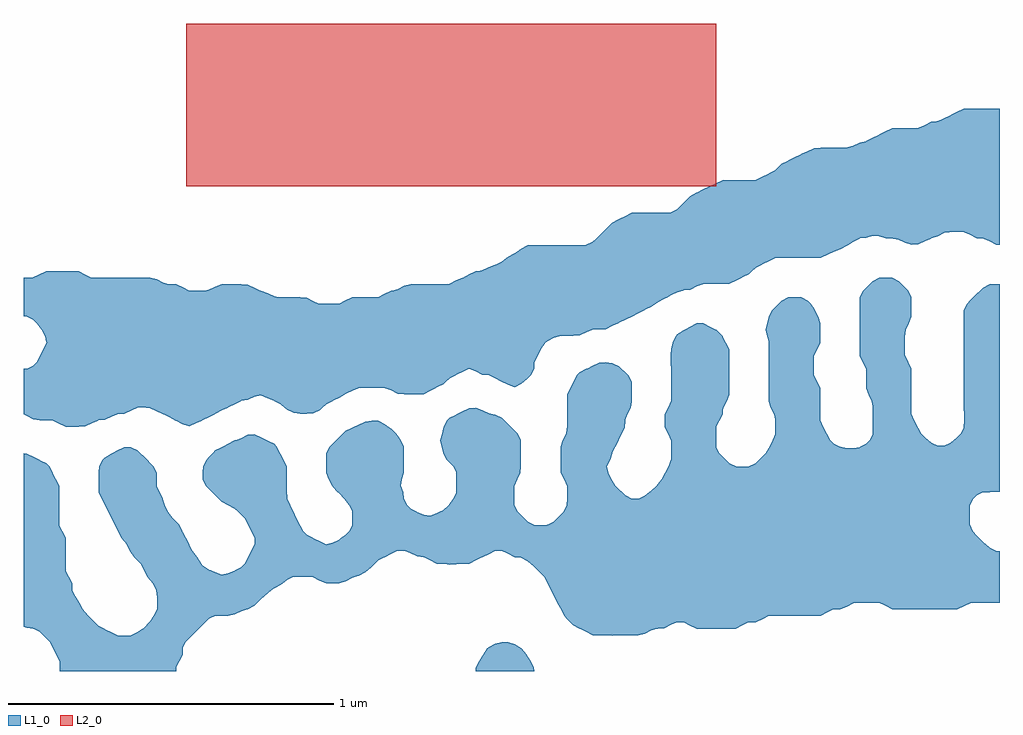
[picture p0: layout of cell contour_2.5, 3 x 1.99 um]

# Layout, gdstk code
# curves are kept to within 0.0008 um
import gdstk
lib = gdstk.Library(unit=1e-6, precision=1e-10)
def P(c, l, *ps):  # polygons
    for p in ps: c.add(gdstk.Polygon(p, *l))
L1_0 = (1, 0)
L2_0 = (2, 0)

contour_2_5 = lib.new_cell('contour_2.5')
P(contour_2_5, L1_0, [(0.33,-0.789),(0.27,-0.7608),(0.2392,-0.73),(0.2094,-0.67),(0.2098,-0.65),(0.2198,-0.63),(0.27,-0.5793),(0.29,-0.5693),(0.33,-0.5692),(0.35,-0.5783),(0.39,-0.5992),(0.4208,-0.63),(0.4506,-0.69),(0.4206,-0.75),(0.41,-0.7603),(0.39,-0.7703),(0.37,-0.7728),(0.35,-0.7826)],
  [(0.65,-0.7302),(0.63,-0.7276),(0.61,-0.7176),(0.59,-0.7008),(0.5592,-0.67),(0.5492,-0.65),(0.5454,-0.63),(0.5354,-0.61),(0.5292,-0.59),(0.5308,-0.55),(0.5408,-0.53),(0.57,-0.4992),(0.59,-0.4892),(0.65,-0.4892),(0.67,-0.4992),(0.7008,-0.53),(0.7308,-0.59),(0.7307,-0.65),(0.7207,-0.67),(0.67,-0.7202)],
  [(0.91,-0.6708),(0.89,-0.6608),(0.87,-0.6408),(0.8593,-0.63),(0.8493,-0.61),(0.8492,-0.49),(0.8592,-0.47),(0.89,-0.4391),(0.91,-0.4292),(0.93,-0.4292),(0.95,-0.4386),(0.9808,-0.47),(0.9908,-0.49),(0.9914,-0.53),(0.9963,-0.55),(1.0048,-0.57),(1.0027,-0.59),(0.9936,-0.61),(0.9908,-0.63),(0.9808,-0.65),(0.97,-0.6608),(0.95,-0.6708)],
  [(1.21,-0.6108),(1.19,-0.6107),(1.17,-0.6007),(1.1392,-0.57),(1.1292,-0.55),(1.1292,-0.51),(1.1382,-0.49),(1.1509,-0.47),(1.17,-0.4519),(1.19,-0.4488),(1.23,-0.4492),(1.25,-0.4592),(1.2608,-0.47),(1.2806,-0.51),(1.2853,-0.53),(1.2758,-0.55),(1.263,-0.57),(1.23,-0.6008)],
  [(-1.05,-0.0787),(-1.07,-0.0781),(-1.09,-0.0684),(-1.1084,-0.05),(-1.1108,-0.03),(-1.11,-0.0083),(-1.1013,0.01),(-1.09,0.0213),(-1.07,0.031),(-1.03,0.0306),(-1.0094,0.01),(-1.007,-0.01),(-1.0069,-0.03),(-1.0091,-0.05),(-1.0273,-0.07)],
  [(-1.27,-0.0544),(-1.29,-0.0541),(-1.31,-0.0409),(-1.3209,-0.03),(-1.3308,-0.01),(-1.3308,0.01),(-1.3208,0.03),(-1.31,0.0408),(-1.29,0.0521),(-1.27,0.0523),(-1.2481,0.05),(-1.23,0.0358),(-1.2164,0.01),(-1.2168,-0.01),(-1.23,-0.0353),(-1.25,-0.0511)],
  [(-0.85,-0.0508),(-0.87,-0.0408),(-0.8808,-0.03),(-0.8908,-0.01),(-0.8908,0.03),(-0.8808,0.05),(-0.87,0.0608),(-0.85,0.0708),(-0.83,0.0708),(-0.81,0.0608),(-0.7992,0.05),(-0.7889,0.03),(-0.7888,-0.01),(-0.7992,-0.03),(-0.81,-0.0408),(-0.83,-0.0508)],
  [(-0.05,0.0187),(-0.07,0.0192),(-0.09,0.0286),(-0.0927,0.03),(-0.1108,0.05),(-0.1108,0.09),(-0.1008,0.11),(-0.09,0.1208),(-0.07,0.1308),(-0.05,0.1308),(-0.03,0.1212),(-0.0188,0.11),(-0.0085,0.09),(-0.0091,0.05),(-0.01,0.0483),(-0.0265,0.03)],
  [(-1.3892,-1),(-1.3892,-0.97),(-1.4192,-0.91),(-1.45,-0.8792),(-1.47,-0.8692),(-1.49,-0.8665),(-1.5,-0.8638),(-1.5,-0.3308),(-1.49,-0.3313),(-1.43,-0.3609),(-1.4208,-0.37),(-1.3908,-0.43),(-1.3905,-0.55),(-1.3709,-0.59),(-1.3708,-0.69),(-1.3509,-0.73),(-1.3507,-0.75),(-1.3181,-0.81),(-1.3008,-0.83),(-1.27,-0.8608),(-1.21,-0.8908),(-1.17,-0.8908),(-1.15,-0.8808),(-1.13,-0.8672),(-1.1128,-0.85),(-1.0992,-0.83),(-1.0892,-0.81),(-1.0892,-0.77),(-1.0921,-0.75),(-1.1021,-0.73),(-1.1192,-0.71),(-1.1393,-0.67),(-1.1592,-0.65),(-1.1727,-0.63),(-1.1827,-0.61),(-1.1992,-0.59),(-1.2692,-0.45),(-1.2692,-0.39),(-1.2664,-0.37),(-1.2557,-0.35),(-1.25,-0.3436),(-1.23,-0.3317),(-1.19,-0.3112),(-1.17,-0.3113),(-1.15,-0.3213),(-1.13,-0.3396),(-1.1008,-0.37),(-1.0908,-0.39),(-1.0908,-0.43),(-1.0715,-0.47),(-1.066,-0.49),(-1.056,-0.51),(-1.0408,-0.53),(-1.0216,-0.55),(-0.9808,-0.63),(-0.9656,-0.65),(-0.95,-0.6742),(-0.93,-0.6883),(-0.89,-0.7032),(-0.87,-0.6986),(-0.85,-0.6908),(-0.83,-0.6808),(-0.8192,-0.67),(-0.7892,-0.61),(-0.7895,-0.59),(-0.8195,-0.53),(-0.85,-0.5006),(-0.89,-0.4792),(-0.9392,-0.43),(-0.9492,-0.41),(-0.9492,-0.39),(-0.9472,-0.37),(-0.9372,-0.35),(-0.91,-0.3215),(-0.85,-0.2908),(-0.83,-0.2832),(-0.81,-0.2733),(-0.79,-0.2713),(-0.73,-0.3015),(-0.7219,-0.31),(-0.6912,-0.37),(-0.6908,-0.45),(-0.6895,-0.47),(-0.65,-0.5522),(-0.6408,-0.57),(-0.63,-0.5808),(-0.57,-0.6107),(-0.55,-0.6054),(-0.53,-0.5954),(-0.51,-0.5808),(-0.4992,-0.57),(-0.4892,-0.55),(-0.4892,-0.51),(-0.4991,-0.49),(-0.5143,-0.47),(-0.5346,-0.45),(-0.5517,-0.43),(-0.5625,-0.41),(-0.5693,-0.39),(-0.5692,-0.33),(-0.5592,-0.31),(-0.51,-0.2614),(-0.45,-0.2332),(-0.43,-0.2308),(-0.41,-0.2309),(-0.39,-0.2409),(-0.37,-0.2546),(-0.3545,-0.27),(-0.3408,-0.29),(-0.3308,-0.31),(-0.3312,-0.39),(-0.3378,-0.41),(-0.3398,-0.43),(-0.3332,-0.45),(-0.3308,-0.47),(-0.3208,-0.49),(-0.31,-0.5008),(-0.29,-0.5108),(-0.27,-0.5185),(-0.25,-0.522),(-0.21,-0.5059),(-0.1935,-0.49),(-0.1784,-0.47),(-0.1692,-0.45),(-0.1695,-0.39),(-0.1795,-0.37),(-0.1992,-0.35),(-0.2092,-0.33),(-0.2183,-0.29),(-0.2088,-0.25),(-0.1986,-0.23),(-0.19,-0.2214),(-0.13,-0.1911),(-0.11,-0.1908),(-0.09,-0.1976),(-0.07,-0.2076),(-0.05,-0.2116),(-0.03,-0.2216),(0.0192,-0.27),(0.0292,-0.29),(0.0292,-0.37),(0.0273,-0.39),(0.0173,-0.41),(0.0092,-0.43),(0.0092,-0.49),(0.0192,-0.51),(0.05,-0.5407),(0.07,-0.5507),(0.11,-0.5505),(0.13,-0.5405),(0.1406,-0.53),(0.1601,-0.51),(0.1701,-0.49),(0.1708,-0.43),(0.1521,-0.39),(0.1508,-0.37),(0.1508,-0.31),(0.1579,-0.29),(0.1679,-0.27),(0.1708,-0.25),(0.1708,-0.15),(0.2009,-0.09),(0.21,-0.081),(0.27,-0.0514),(0.29,-0.0508),(0.31,-0.0527),(0.33,-0.0627),(0.35,-0.0809),(0.359,-0.09),(0.369,-0.11),(0.3692,-0.17),(0.3664,-0.19),(0.3564,-0.21),(0.3492,-0.23),(0.3488,-0.25),(0.3092,-0.33),(0.3028,-0.35),(0.293,-0.37),(0.2971,-0.39),(0.3069,-0.41),(0.3191,-0.43),(0.35,-0.4596),(0.37,-0.4696),(0.39,-0.4703),(0.41,-0.4603),(0.43,-0.4457),(0.4464,-0.43),(0.4616,-0.41),(0.4729,-0.39),(0.4829,-0.37),(0.4908,-0.35),(0.4906,-0.29),(0.4713,-0.25),(0.4708,-0.23),(0.4713,-0.21),(0.4906,-0.17),(0.4898,-0.03),(0.4908,-0.01),(0.4949,0.01),(0.5055,0.03),(0.51,0.0354),(0.53,0.0484),(0.57,0.0692),(0.59,0.0692),(0.63,0.0492),(0.649,0.03),(0.6692,-0.01),(0.6692,-0.15),(0.6611,-0.17),(0.6511,-0.19),(0.6486,-0.21),(0.6292,-0.25),(0.6292,-0.31),(0.6392,-0.33),(0.67,-0.3607),(0.69,-0.3707),(0.73,-0.3708),(0.75,-0.3608),(0.7808,-0.33),(0.7934,-0.31),(0.8034,-0.29),(0.8108,-0.27),(0.8108,-0.23),(0.8075,-0.21),(0.7975,-0.19),(0.7908,-0.17),(0.7907,0.01),(0.7821,0.05),(0.7908,0.09),(0.8008,0.11),(0.83,0.1392),(0.85,0.1492),(0.89,0.1492),(0.91,0.1392),(0.9192,0.13),(0.9326,0.11),(0.9426,0.09),(0.9492,0.07),(0.9491,0.01),(0.9294,-0.03),(0.9292,-0.05),(0.9294,-0.09),(0.9491,-0.13),(0.9492,-0.23),(0.9792,-0.29),(0.99,-0.3008),(1.01,-0.3108),(1.03,-0.3152),(1.05,-0.3153),(1.07,-0.3109),(1.09,-0.3008),(1.1008,-0.29),(1.1108,-0.27),(1.1108,-0.19),(1.1074,-0.17),(1.0974,-0.15),(1.0908,-0.13),(1.0901,-0.07),(1.0708,-0.03),(1.0709,0.15),(1.0809,0.17),(1.11,0.1992),(1.13,0.2092),(1.17,0.2091),(1.19,0.1991),(1.1992,0.19),(1.2191,0.17),(1.2291,0.15),(1.2292,0.09),(1.2214,0.07),(1.2114,0.05),(1.2092,0.03),(1.2092,-0.01),(1.2094,-0.03),(1.2291,-0.07),(1.2292,-0.21),(1.2383,-0.23),(1.2592,-0.27),(1.27,-0.2808),(1.29,-0.2976),(1.31,-0.3076),(1.33,-0.3076),(1.35,-0.2976),(1.37,-0.2808),(1.3808,-0.27),(1.3908,-0.25),(1.3908,0.11),(1.4008,0.13),(1.43,0.1606),(1.45,0.1791),(1.47,0.1891),(1.5,0.1892),(1.5,-0.4487),(1.45,-0.4493),(1.43,-0.4593),(1.4193,-0.47),(1.4092,-0.49),(1.4089,-0.51),(1.4092,-0.55),(1.4182,-0.57),(1.4365,-0.59),(1.47,-0.6207),(1.49,-0.6307),(1.5,-0.6308),(1.5,-0.7892),(1.43,-0.7892),(1.41,-0.7911),(1.39,-0.8011),(1.37,-0.8092),(1.17,-0.8091),(1.13,-0.7894),(1.07,-0.7892),(1.05,-0.7915),(1.03,-0.8015),(1.01,-0.8092),(0.99,-0.8094),(0.95,-0.8292),(0.81,-0.8292),(0.79,-0.8302),(0.75,-0.8492),(0.73,-0.8492),(0.69,-0.869),(0.57,-0.8691),(0.53,-0.8501),(0.51,-0.8494),(0.47,-0.8676),(0.45,-0.8692),(0.43,-0.8744),(0.41,-0.8844),(0.39,-0.8892),(0.35,-0.8892),(0.31,-0.8911),(0.25,-0.8892),(0.19,-0.8591),(0.1808,-0.85),(0.1626,-0.83),(0.1408,-0.79),(0.1007,-0.71),(0.07,-0.6792),(0.05,-0.6616),(0.03,-0.6516),(0.01,-0.6492),(-0.03,-0.6298),(-0.05,-0.63),(-0.13,-0.6691),(-0.15,-0.6693),(-0.17,-0.672),(-0.19,-0.6722),(-0.21,-0.6694),(-0.23,-0.6692),(-0.27,-0.6492),(-0.29,-0.6474),(-0.31,-0.6374),(-0.33,-0.6292),(-0.35,-0.6295),(-0.41,-0.6592),(-0.43,-0.6792),(-0.45,-0.6963),(-0.47,-0.7063),(-0.49,-0.7132),(-0.51,-0.7232),(-0.53,-0.7292),(-0.57,-0.7292),(-0.59,-0.7214),(-0.61,-0.7114),(-0.63,-0.7092),(-0.67,-0.7096),(-0.69,-0.7196),(-0.71,-0.7348),(-0.73,-0.7452),(-0.75,-0.7597),(-0.79,-0.7992),(-0.81,-0.8092),(-0.83,-0.8153),(-0.85,-0.8253),(-0.87,-0.8292),(-0.91,-0.8294),(-0.93,-0.8394),(-1.0007,-0.91),(-1.0107,-0.93),(-1.011,-0.95),(-1.0307,-0.99),(-1.0308,-1)],
  [(-0.1092,-1),(-0.1092,-0.99),(-0.0992,-0.97),(-0.0876,-0.95),(-0.0739,-0.93),(-0.05,-0.9154),(-0.03,-0.9108),(-0.01,-0.9108),(0.01,-0.9169),(0.0303,-0.93),(0.0463,-0.95),(0.059,-0.97),(0.069,-0.99),(0.0692,-1)],
  [(-1.35,-0.2492),(-1.37,-0.2491),(-1.41,-0.2292),(-1.45,-0.2292),(-1.47,-0.225),(-1.5,-0.2094),(-1.5,-0.0708),(-1.49,-0.0708),(-1.47,-0.0608),(-1.4592,-0.05),(-1.4293,0.01),(-1.4339,0.03),(-1.4439,0.05),(-1.4592,0.07),(-1.47,0.0808),(-1.49,0.0908),(-1.5,0.0908),(-1.5,0.2092),(-1.47,0.2108),(-1.43,0.2292),(-1.33,0.229),(-1.29,0.2093),(-1.11,0.2092),(-1.09,0.2046),(-1.07,0.1946),(-1.05,0.1892),(-1.03,0.1892),(-0.99,0.1697),(-0.95,0.1692),(-0.93,0.1721),(-0.91,0.1821),(-0.89,0.1892),(-0.81,0.1883),(-0.73,0.1518),(-0.71,0.1492),(-0.65,0.1492),(-0.63,0.1475),(-0.59,0.1293),(-0.53,0.1296),(-0.49,0.1491),(-0.41,0.1497),(-0.37,0.1692),(-0.35,0.1742),(-0.33,0.1842),(-0.31,0.1892),(-0.21,0.1892),(-0.19,0.1915),(-0.11,0.2292),(-0.09,0.2319),(-0.07,0.2419),(-0.05,0.2492),(-0.03,0.2592),(-0.01,0.2745),(0.01,0.2845),(0.03,0.2991),(0.05,0.3091),(0.21,0.3092),(0.23,0.3103),(0.25,0.3203),(0.31,0.3787),(0.37,0.4092),(0.4903,0.41),(0.51,0.4199),(0.55,0.4592),(0.57,0.4708),(0.63,0.5005),(0.65,0.5092),(0.75,0.5092),(0.81,0.5392),(0.83,0.5592),(0.93,0.6081),(0.95,0.6092),(1.03,0.6092),(1.05,0.6148),(1.07,0.6248),(1.09,0.6293),(1.17,0.6692),(1.25,0.6692),(1.29,0.6885),(1.31,0.6902),(1.39,0.7292),(1.5,0.7292),(1.5,0.3108),(1.49,0.3112),(1.45,0.3308),(1.43,0.3313),(1.39,0.3508),(1.35,0.3508),(1.33,0.3474),(1.31,0.3374),(1.29,0.3308),(1.25,0.3123),(1.23,0.3108),(1.21,0.3167),(1.19,0.3267),(1.17,0.3308),(1.15,0.3311),(1.13,0.3372),(1.11,0.3378),(1.09,0.3317),(1.07,0.3308),(1.05,0.3208),(1.03,0.3074),(0.95,0.2708),(0.81,0.2704),(0.75,0.2407),(0.73,0.2208),(0.67,0.1909),(0.59,0.1908),(0.57,0.1831),(0.55,0.1731),(0.53,0.1708),(0.51,0.1653),(0.45,0.1348),(0.43,0.1208),(0.29,0.0513),(0.25,0.0508),(0.21,0.0324),(0.19,0.0308),(0.15,0.0308),(0.13,0.0252),(0.1045,0.01),(0.0905,-0.01),(0.07,-0.05),(0.0692,-0.07),(0.0592,-0.09),(0.03,-0.1169),(0.01,-0.1267),(-0.01,-0.1195),(-0.07,-0.0895),(-0.09,-0.088),(-0.13,-0.0696),(-0.19,-0.0992),(-0.21,-0.1173),(-0.27,-0.1482),(-0.33,-0.1492),(-0.35,-0.1468),(-0.37,-0.1368),(-0.39,-0.1292),(-0.47,-0.1292),(-0.49,-0.1379),(-0.57,-0.1792),(-0.59,-0.1976),(-0.61,-0.2076),(-0.65,-0.2092),(-0.67,-0.2057),(-0.69,-0.1957),(-0.71,-0.1792),(-0.77,-0.1517),(-0.79,-0.1565),(-0.81,-0.1662),(-0.83,-0.1692),(-0.95,-0.2292),(-0.97,-0.2371),(-0.99,-0.2468),(-1.01,-0.2405),(-1.07,-0.2098),(-1.11,-0.1914),(-1.13,-0.1892),(-1.15,-0.1895),(-1.19,-0.2092),(-1.21,-0.2092),(-1.23,-0.2174),(-1.25,-0.2274),(-1.27,-0.2292),(-1.31,-0.2476)])
contour_2_5.add(gdstk.FlexPath([(-1,0.74),(0.63,0.74)], 0.5, ends="flush", simple_path=True, layer=2, datatype=0))  # L2_0

lib.write_gds('contour_2.5.gds')
